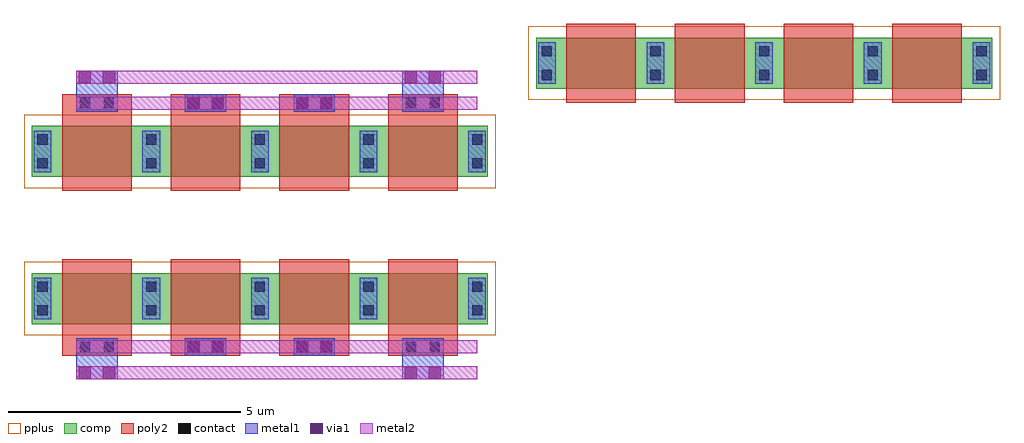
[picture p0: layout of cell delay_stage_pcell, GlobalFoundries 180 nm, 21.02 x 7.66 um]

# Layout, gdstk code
import gdstk
lib = gdstk.Library(unit=1e-6, precision=5e-09)
def R(c, l, rs):  # rectangles x0, y0, x1, y1
    for r in rs: c.add(gdstk.rectangle(r[:2], r[2:], *l))
def A(c, l, x, y, w, h, nx, ny, dx, dy):  # array of equal rectangles
    R(c, l, [(x+i*dx, y+j*dy, x+i*dx+w, y+j*dy+h) for i in range(nx) for j in range(ny)])
comp = (22, 0)
poly2 = (30, 0)
pplus = (31, 0)
contact = (33, 0)
metal1 = (34, 0)
via1 = (35, 0)
metal2 = (36, 0)

delay_stage_pcell_1_1 = lib.new_cell('delay_stage_pcell_1$1')
R(delay_stage_pcell_1_1, comp, [(0.17,0.3,0.63,1.4), (0.63,0.3,2.51,1.4), (2.51,0.3,2.97,1.4)])
R(delay_stage_pcell_1_1, poly2, [(0.82,0,2.32,1.7)])
R(delay_stage_pcell_1_1, pplus, [(0,0.06,3.14,1.64)])
R(delay_stage_pcell_1_1, contact, [(0.29,0.485,0.51,0.705), (2.63,0.485,2.85,0.705), (0.29,0.995,0.51,1.215), (2.63,0.995,2.85,1.215)])
R(delay_stage_pcell_1_1, metal1, [(0.21,0.405,0.59,1.295), (2.55,0.405,2.93,1.295)])

delay_stage_pcell_4 = lib.new_cell('delay_stage_pcell_4')
delay_stage_pcell_4.add(gdstk.Reference(delay_stage_pcell_1_1, (0,0)))
delay_stage_pcell_4.add(gdstk.Reference(delay_stage_pcell_1_1, (2.34,0)))
delay_stage_pcell_4.add(gdstk.Reference(delay_stage_pcell_1_1, (4.68,0)))
delay_stage_pcell_4.add(gdstk.Reference(delay_stage_pcell_1_1, (7.02,0)))

delay_stage_pcell = lib.new_cell('delay_stage_pcell')
A(delay_stage_pcell, poly2, 1.5, -2.22, 1.5, 0.38, 4, 2, 2.34, 5.25)
R(delay_stage_pcell, contact, [(1.885,-2.14,2.105,-1.92), (2.395,-2.14,2.615,-1.92), (4.225,-2.14,4.445,-1.92), (4.735,-2.14,4.955,-1.92), (6.565,-2.14,6.785,-1.92), (7.075,-2.14,7.295,-1.92), (8.905,-2.14,9.125,-1.92), (9.415,-2.14,9.635,-1.92), (1.885,3.11,2.105,3.33), (2.395,3.11,2.615,3.33), (4.225,3.11,4.445,3.33), (4.735,3.11,4.955,3.33), (6.565,3.11,6.785,3.33), (7.075,3.11,7.295,3.33), (8.905,3.11,9.125,3.33), (9.415,3.11,9.635,3.33)])
R(delay_stage_pcell, metal1, [(1.805,-2.73,2.695,-1.84), (8.825,-2.73,9.715,-1.84), (4.145,-2.22,5.035,-1.84), (6.485,-2.22,7.375,-1.84), (1.805,3.03,2.695,3.92), (4.145,3.03,5.035,3.41), (6.485,3.03,7.375,3.41), (8.825,3.03,9.715,3.92)])
R(delay_stage_pcell, via1, [(1.86,-2.72,2.12,-2.46), (2.38,-2.72,2.64,-2.46), (8.88,-2.72,9.14,-2.46), (9.4,-2.72,9.66,-2.46), (4.2,-2.16,4.46,-1.9), (4.72,-2.16,4.98,-1.9), (6.54,-2.16,6.8,-1.9), (7.06,-2.16,7.32,-1.9), (4.2,3.09,4.46,3.35), (4.72,3.09,4.98,3.35), (6.54,3.09,6.8,3.35), (7.06,3.09,7.32,3.35), (1.86,3.65,2.12,3.91), (2.38,3.65,2.64,3.91), (8.88,3.65,9.14,3.91), (9.4,3.65,9.66,3.91)])
delay_stage_pcell.add(gdstk.FlexPath([(1.805,-2.03),(10.44,-2.03)], 0.28, ends="flush", simple_path=True, layer=36, datatype=0))  # metal2
delay_stage_pcell.add(gdstk.FlexPath([(1.805,3.22),(10.44,3.22)], 0.28, ends="flush", simple_path=True, layer=36, datatype=0))  # metal2
delay_stage_pcell.add(gdstk.FlexPath([(1.805,3.78),(10.44,3.78)], 0.28, ends="flush", simple_path=True, layer=36, datatype=0))  # metal2
delay_stage_pcell.add(gdstk.FlexPath([(1.805,-2.59),(10.44,-2.59)], 0.28, ends="flush", simple_path=True, layer=36, datatype=0))  # metal2
delay_stage_pcell.add(gdstk.Reference(delay_stage_pcell_4, (0.68,1.33)))
delay_stage_pcell.add(gdstk.Reference(delay_stage_pcell_4, (11.54,3.23)))
delay_stage_pcell.add(gdstk.Reference(delay_stage_pcell_4, (0.68,-0.14), x_reflection=True))

lib.write_gds('delay_stage_pcell.gds')
